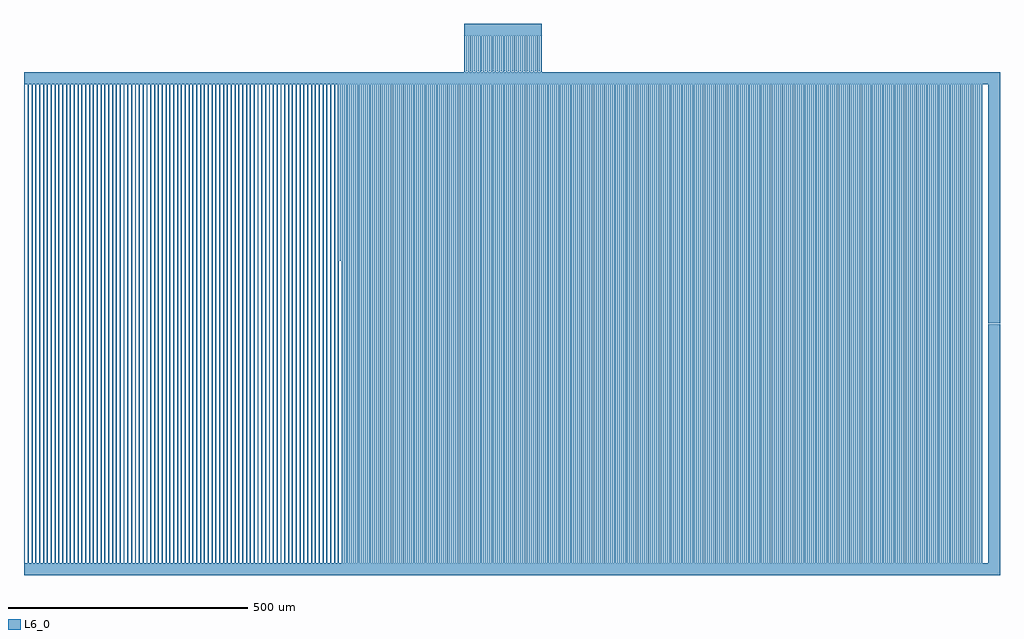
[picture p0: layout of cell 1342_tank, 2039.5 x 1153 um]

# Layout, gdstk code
import gdstk
lib = gdstk.Library(unit=1e-6, precision=1e-09)
def P(c, l, *ps):  # polygons
    for p in ps: c.add(gdstk.Polygon(p, *l))
L6_0 = (6, 0)

c_1342_tank = lib.new_cell('1342_tank')
P(c_1342_tank, L6_0, [(-246,8476.75),(-246,8551.75),(-250,8551.75),(-250,8576.75),(-88,8576.75),(-88,8551.75),(-92,8551.75),(-92,8476.75),(-94,8476.75),(-94,8551.75),(-100,8551.75),(-100,8476.75),(-102,8476.75),(-102,8551.75),(-108,8551.75),(-108,8476.75),(-110,8476.75),(-110,8551.75),(-116,8551.75),(-116,8476.75),(-118,8476.75),(-118,8551.75),(-124,8551.75),(-124,8476.75),(-126,8476.75),(-126,8551.75),(-132,8551.75),(-132,8476.75),(-134,8476.75),(-134,8551.75),(-140,8551.75),(-140,8476.75),(-142,8476.75),(-142,8551.75),(-148,8551.75),(-148,8476.75),(-150,8476.75),(-150,8551.75),(-156,8551.75),(-156,8476.75),(-158,8476.75),(-158,8551.75),(-164,8551.75),(-164,8476.75),(-166,8476.75),(-166,8551.75),(-172,8551.75),(-172,8476.75),(-174,8476.75),(-174,8551.75),(-180,8551.75),(-180,8476.75),(-182,8476.75),(-182,8551.75),(-188,8551.75),(-188,8476.75),(-190,8476.75),(-190,8551.75),(-196,8551.75),(-196,8476.75),(-198,8476.75),(-198,8551.75),(-204,8551.75),(-204,8476.75),(-206,8476.75),(-206,8551.75),(-212,8551.75),(-212,8476.75),(-214,8476.75),(-214,8551.75),(-220,8551.75),(-220,8476.75),(-222,8476.75),(-222,8551.75),(-228,8551.75),(-228,8476.75),(-230,8476.75),(-230,8551.75),(-236,8551.75),(-236,8476.75),(-238,8476.75),(-238,8551.75),(-244,8551.75),(-244,8476.75)],
  [(-502,7450.25),(-502,8450.25),(-508,8450.25),(-508,8081.446),(-510,8081.446),(-510,8450.25),(-1170,8450.25),(-1170,8475.25),(-250,8475.25),(-250,8550.25),(-248,8550.25),(-248,8475.25),(-242,8475.25),(-242,8550.25),(-240,8550.25),(-240,8475.25),(-234,8475.25),(-234,8550.25),(-232,8550.25),(-232,8475.25),(-226,8475.25),(-226,8550.25),(-224,8550.25),(-224,8475.25),(-218,8475.25),(-218,8550.25),(-216,8550.25),(-216,8475.25),(-210,8475.25),(-210,8550.25),(-208,8550.25),(-208,8475.25),(-202,8475.25),(-202,8550.25),(-200,8550.25),(-200,8475.25),(-194,8475.25),(-194,8450.25),(-196,8450.25),(-196,7450.25),(-198,7450.25),(-198,8450.25),(-204,8450.25),(-204,7450.25),(-206,7450.25),(-206,8450.25),(-212,8450.25),(-212,7450.25),(-214,7450.25),(-214,8450.25),(-220,8450.25),(-220,7450.25),(-222,7450.25),(-222,8450.25),(-228,8450.25),(-228,7450.25),(-230,7450.25),(-230,8450.25),(-236,8450.25),(-236,7450.25),(-238,7450.25),(-238,8450.25),(-244,8450.25),(-244,7450.25),(-246,7450.25),(-246,8450.25),(-252,8450.25),(-252,7450.25),(-254,7450.25),(-254,8450.25),(-260,8450.25),(-260,7450.25),(-262,7450.25),(-262,8450.25),(-268,8450.25),(-268,7450.25),(-270,7450.25),(-270,8450.25),(-276,8450.25),(-276,7450.25),(-278,7450.25),(-278,8450.25),(-284,8450.25),(-284,7450.25),(-286,7450.25),(-286,8450.25),(-292,8450.25),(-292,7450.25),(-294,7450.25),(-294,8450.25),(-300,8450.25),(-300,7450.25),(-302,7450.25),(-302,8450.25),(-308,8450.25),(-308,7450.25),(-310,7450.25),(-310,8450.25),(-316,8450.25),(-316,7450.25),(-318,7450.25),(-318,8450.25),(-324,8450.25),(-324,7450.25),(-326,7450.25),(-326,8450.25),(-332,8450.25),(-332,7450.25),(-334,7450.25),(-334,8450.25),(-340,8450.25),(-340,7450.25),(-342,7450.25),(-342,8450.25),(-348,8450.25),(-348,7450.25),(-350,7450.25),(-350,8450.25),(-356,8450.25),(-356,7450.25),(-358,7450.25),(-358,8450.25),(-364,8450.25),(-364,7450.25),(-366,7450.25),(-366,8450.25),(-372,8450.25),(-372,7450.25),(-374,7450.25),(-374,8450.25),(-380,8450.25),(-380,7450.25),(-382,7450.25),(-382,8450.25),(-388,8450.25),(-388,7450.25),(-390,7450.25),(-390,8450.25),(-396,8450.25),(-396,7450.25),(-398,7450.25),(-398,8450.25),(-404,8450.25),(-404,7450.25),(-406,7450.25),(-406,8450.25),(-412,8450.25),(-412,7450.25),(-414,7450.25),(-414,8450.25),(-420,8450.25),(-420,7450.25),(-422,7450.25),(-422,8450.25),(-428,8450.25),(-428,7450.25),(-430,7450.25),(-430,8450.25),(-436,8450.25),(-436,7450.25),(-438,7450.25),(-438,8450.25),(-444,8450.25),(-444,7450.25),(-446,7450.25),(-446,8450.25),(-452,8450.25),(-452,7450.25),(-454,7450.25),(-454,8450.25),(-460,8450.25),(-460,7450.25),(-462,7450.25),(-462,8450.25),(-468,8450.25),(-468,7450.25),(-470,7450.25),(-470,8450.25),(-476,8450.25),(-476,7450.25),(-478,7450.25),(-478,8450.25),(-484,8450.25),(-484,7450.25),(-486,7450.25),(-486,8450.25),(-492,8450.25),(-492,7450.25),(-494,7450.25),(-494,8450.25),(-500,8450.25),(-500,7450.25)],
  [(-190,7450.25),(-190,8450.25),(-194,8450.25),(-194,8550.25),(-192,8550.25),(-192,8475.25),(-186,8475.25),(-186,8550.25),(-184,8550.25),(-184,8475.25),(-178,8475.25),(-178,8550.25),(-176,8550.25),(-176,8475.25),(-170,8475.25),(-170,8550.25),(-168,8550.25),(-168,8475.25),(-162,8475.25),(-162,8550.25),(-160,8550.25),(-160,8475.25),(-154,8475.25),(-154,8550.25),(-152,8550.25),(-152,8475.25),(-146,8475.25),(-146,8550.25),(-144,8550.25),(-144,8475.25),(-138,8475.25),(-138,8550.25),(-136,8550.25),(-136,8475.25),(-130,8475.25),(-130,8550.25),(-128,8550.25),(-128,8475.25),(-122,8475.25),(-122,8550.25),(-120,8550.25),(-120,8475.25),(-114,8475.25),(-114,8550.25),(-112,8550.25),(-112,8475.25),(-106,8475.25),(-106,8550.25),(-104,8550.25),(-104,8475.25),(-98,8475.25),(-98,8550.25),(-96,8550.25),(-96,8475.25),(-90,8475.25),(-90,8550.25),(-88,8550.25),(-88,8475.25),(76,8475.25),(76,7450.25),(74,7450.25),(74,8450.25),(68,8450.25),(68,7450.25),(66,7450.25),(66,8450.25),(60,8450.25),(60,7450.25),(58,7450.25),(58,8450.25),(52,8450.25),(52,7450.25),(50,7450.25),(50,8450.25),(44,8450.25),(44,7450.25),(42,7450.25),(42,8450.25),(36,8450.25),(36,7450.25),(34,7450.25),(34,8450.25),(28,8450.25),(28,7450.25),(26,7450.25),(26,8450.25),(20,8450.25),(20,7450.25),(18,7450.25),(18,8450.25),(12,8450.25),(12,7450.25),(10,7450.25),(10,8450.25),(4,8450.25),(4,7450.25),(2,7450.25),(2,8450.25),(-4,8450.25),(-4,7450.25),(-6,7450.25),(-6,8450.25),(-12,8450.25),(-12,7450.25),(-14,7450.25),(-14,8450.25),(-20,8450.25),(-20,7450.25),(-22,7450.25),(-22,8450.25),(-28,8450.25),(-28,7450.25),(-30,7450.25),(-30,8450.25),(-36,8450.25),(-36,7450.25),(-38,7450.25),(-38,8450.25),(-44,8450.25),(-44,7450.25),(-46,7450.25),(-46,8450.25),(-52,8450.25),(-52,7450.25),(-54,7450.25),(-54,8450.25),(-60,8450.25),(-60,7450.25),(-62,7450.25),(-62,8450.25),(-68,8450.25),(-68,7450.25),(-70,7450.25),(-70,8450.25),(-76,8450.25),(-76,7450.25),(-78,7450.25),(-78,8450.25),(-84,8450.25),(-84,7450.25),(-86,7450.25),(-86,8450.25),(-92,8450.25),(-92,7450.25),(-94,7450.25),(-94,8450.25),(-100,8450.25),(-100,7450.25),(-102,7450.25),(-102,8450.25),(-108,8450.25),(-108,7450.25),(-110,7450.25),(-110,8450.25),(-116,8450.25),(-116,7450.25),(-118,7450.25),(-118,8450.25),(-124,8450.25),(-124,7450.25),(-126,7450.25),(-126,8450.25),(-132,8450.25),(-132,7450.25),(-134,7450.25),(-134,8450.25),(-140,8450.25),(-140,7450.25),(-142,7450.25),(-142,8450.25),(-148,8450.25),(-148,7450.25),(-150,7450.25),(-150,8450.25),(-156,8450.25),(-156,7450.25),(-158,7450.25),(-158,8450.25),(-164,8450.25),(-164,7450.25),(-166,7450.25),(-166,8450.25),(-172,8450.25),(-172,7450.25),(-174,7450.25),(-174,8450.25),(-180,8450.25),(-180,7450.25),(-182,7450.25),(-182,8450.25),(-188,8450.25),(-188,7450.25)],
  [(82,7450.25),(82,8450.25),(76,8450.25),(76,8475.25),(458,8475.25),(458,8450.25),(452,8450.25),(452,7450.25),(450,7450.25),(450,8450.25),(444,8450.25),(444,7450.25),(442,7450.25),(442,8450.25),(436,8450.25),(436,7450.25),(434,7450.25),(434,8450.25),(428,8450.25),(428,7450.25),(426,7450.25),(426,8450.25),(420,8450.25),(420,7450.25),(418,7450.25),(418,8450.25),(412,8450.25),(412,7450.25),(410,7450.25),(410,8450.25),(404,8450.25),(404,7450.25),(402,7450.25),(402,8450.25),(396,8450.25),(396,7450.25),(394,7450.25),(394,8450.25),(388,8450.25),(388,7450.25),(386,7450.25),(386,8450.25),(380,8450.25),(380,7450.25),(378,7450.25),(378,8450.25),(372,8450.25),(372,7450.25),(370,7450.25),(370,8450.25),(364,8450.25),(364,7450.25),(362,7450.25),(362,8450.25),(356,8450.25),(356,7450.25),(354,7450.25),(354,8450.25),(348,8450.25),(348,7450.25),(346,7450.25),(346,8450.25),(340,8450.25),(340,7450.25),(338,7450.25),(338,8450.25),(332,8450.25),(332,7450.25),(330,7450.25),(330,8450.25),(324,8450.25),(324,7450.25),(322,7450.25),(322,8450.25),(316,8450.25),(316,7450.25),(314,7450.25),(314,8450.25),(308,8450.25),(308,7450.25),(306,7450.25),(306,8450.25),(300,8450.25),(300,7450.25),(298,7450.25),(298,8450.25),(292,8450.25),(292,7450.25),(290,7450.25),(290,8450.25),(284,8450.25),(284,7450.25),(282,7450.25),(282,8450.25),(276,8450.25),(276,7450.25),(274,7450.25),(274,8450.25),(268,8450.25),(268,7450.25),(266,7450.25),(266,8450.25),(260,8450.25),(260,7450.25),(258,7450.25),(258,8450.25),(252,8450.25),(252,7450.25),(250,7450.25),(250,8450.25),(244,8450.25),(244,7450.25),(242,7450.25),(242,8450.25),(236,8450.25),(236,7450.25),(234,7450.25),(234,8450.25),(228,8450.25),(228,7450.25),(226,7450.25),(226,8450.25),(220,8450.25),(220,7450.25),(218,7450.25),(218,8450.25),(212,8450.25),(212,7450.25),(210,7450.25),(210,8450.25),(204,8450.25),(204,7450.25),(202,7450.25),(202,8450.25),(196,8450.25),(196,7450.25),(194,7450.25),(194,8450.25),(188,8450.25),(188,7450.25),(186,7450.25),(186,8450.25),(180,8450.25),(180,7450.25),(178,7450.25),(178,8450.25),(172,8450.25),(172,7450.25),(170,7450.25),(170,8450.25),(164,8450.25),(164,7450.25),(162,7450.25),(162,8450.25),(156,8450.25),(156,7450.25),(154,7450.25),(154,8450.25),(148,8450.25),(148,7450.25),(146,7450.25),(146,8450.25),(140,8450.25),(140,7450.25),(138,7450.25),(138,8450.25),(132,8450.25),(132,7450.25),(130,7450.25),(130,8450.25),(124,8450.25),(124,7450.25),(122,7450.25),(122,8450.25),(116,8450.25),(116,7450.25),(114,7450.25),(114,8450.25),(108,8450.25),(108,7450.25),(106,7450.25),(106,8450.25),(100,8450.25),(100,7450.25),(98,7450.25),(98,8450.25),(92,8450.25),(92,7450.25),(90,7450.25),(90,8450.25),(84,8450.25),(84,7450.25)],
  [(458,7450.25),(458,8475.25),(869.5,8475.25),(869.5,7950.5),(844.5,7950.5),(844.5,8450.25),(828,8450.25),(828,7450.25),(826,7450.25),(826,8450.25),(820,8450.25),(820,7450.25),(818,7450.25),(818,8450.25),(812,8450.25),(812,7450.25),(810,7450.25),(810,8450.25),(804,8450.25),(804,7450.25),(802,7450.25),(802,8450.25),(796,8450.25),(796,7450.25),(794,7450.25),(794,8450.25),(788,8450.25),(788,7450.25),(786,7450.25),(786,8450.25),(780,8450.25),(780,7450.25),(778,7450.25),(778,8450.25),(772,8450.25),(772,7450.25),(770,7450.25),(770,8450.25),(764,8450.25),(764,7450.25),(762,7450.25),(762,8450.25),(756,8450.25),(756,7450.25),(754,7450.25),(754,8450.25),(748,8450.25),(748,7450.25),(746,7450.25),(746,8450.25),(740,8450.25),(740,7450.25),(738,7450.25),(738,8450.25),(732,8450.25),(732,7450.25),(730,7450.25),(730,8450.25),(724,8450.25),(724,7450.25),(722,7450.25),(722,8450.25),(716,8450.25),(716,7450.25),(714,7450.25),(714,8450.25),(708,8450.25),(708,7450.25),(706,7450.25),(706,8450.25),(700,8450.25),(700,7450.25),(698,7450.25),(698,8450.25),(692,8450.25),(692,7450.25),(690,7450.25),(690,8450.25),(684,8450.25),(684,7450.25),(682,7450.25),(682,8450.25),(676,8450.25),(676,7450.25),(674,7450.25),(674,8450.25),(668,8450.25),(668,7450.25),(666,7450.25),(666,8450.25),(660,8450.25),(660,7450.25),(658,7450.25),(658,8450.25),(652,8450.25),(652,7450.25),(650,7450.25),(650,8450.25),(644,8450.25),(644,7450.25),(642,7450.25),(642,8450.25),(636,8450.25),(636,7450.25),(634,7450.25),(634,8450.25),(628,8450.25),(628,7450.25),(626,7450.25),(626,8450.25),(620,8450.25),(620,7450.25),(618,7450.25),(618,8450.25),(612,8450.25),(612,7450.25),(610,7450.25),(610,8450.25),(604,8450.25),(604,7450.25),(602,7450.25),(602,8450.25),(596,8450.25),(596,7450.25),(594,7450.25),(594,8450.25),(588,8450.25),(588,7450.25),(586,7450.25),(586,8450.25),(580,8450.25),(580,7450.25),(578,7450.25),(578,8450.25),(572,8450.25),(572,7450.25),(570,7450.25),(570,8450.25),(564,8450.25),(564,7450.25),(562,7450.25),(562,8450.25),(556,8450.25),(556,7450.25),(554,7450.25),(554,8450.25),(548,8450.25),(548,7450.25),(546,7450.25),(546,8450.25),(540,8450.25),(540,7450.25),(538,7450.25),(538,8450.25),(532,8450.25),(532,7450.25),(530,7450.25),(530,8450.25),(524,8450.25),(524,7450.25),(522,7450.25),(522,8450.25),(516,8450.25),(516,7450.25),(514,7450.25),(514,8450.25),(508,8450.25),(508,7450.25),(506,7450.25),(506,8450.25),(500,8450.25),(500,7450.25),(498,7450.25),(498,8450.25),(492,8450.25),(492,7450.25),(490,7450.25),(490,8450.25),(484,8450.25),(484,7450.25),(482,7450.25),(482,8450.25),(476,8450.25),(476,7450.25),(474,7450.25),(474,8450.25),(468,8450.25),(468,7450.25),(466,7450.25),(466,8450.25),(460,8450.25),(460,7450.25)],
  [(-1170,7423.75),(-1170,8448.75),(-1168,8448.75),(-1168,7448.75),(-1162,7448.75),(-1162,8448.75),(-1160,8448.75),(-1160,7448.75),(-1154,7448.75),(-1154,8448.75),(-1152,8448.75),(-1152,7448.75),(-1146,7448.75),(-1146,8448.75),(-1144,8448.75),(-1144,7448.75),(-1138,7448.75),(-1138,8448.75),(-1136,8448.75),(-1136,7448.75),(-1130,7448.75),(-1130,8448.75),(-1128,8448.75),(-1128,7448.75),(-1122,7448.75),(-1122,8448.75),(-1120,8448.75),(-1120,7448.75),(-1114,7448.75),(-1114,8448.75),(-1112,8448.75),(-1112,7448.75),(-1106,7448.75),(-1106,8448.75),(-1104,8448.75),(-1104,7448.75),(-1098,7448.75),(-1098,8448.75),(-1096,8448.75),(-1096,7448.75),(-1090,7448.75),(-1090,8448.75),(-1088,8448.75),(-1088,7448.75),(-1082,7448.75),(-1082,8448.75),(-1080,8448.75),(-1080,7448.75),(-1074,7448.75),(-1074,8448.75),(-1072,8448.75),(-1072,7448.75),(-1066,7448.75),(-1066,8448.75),(-1064,8448.75),(-1064,7448.75),(-1058,7448.75),(-1058,8448.75),(-1056,8448.75),(-1056,7448.75),(-1050,7448.75),(-1050,8448.75),(-1048,8448.75),(-1048,7448.75),(-1042,7448.75),(-1042,8448.75),(-1040,8448.75),(-1040,7448.75),(-1034,7448.75),(-1034,8448.75),(-1032,8448.75),(-1032,7448.75),(-1026,7448.75),(-1026,8448.75),(-1024,8448.75),(-1024,7448.75),(-1018,7448.75),(-1018,8448.75),(-1016,8448.75),(-1016,7448.75),(-1010,7448.75),(-1010,8448.75),(-1008,8448.75),(-1008,7448.75),(-1002,7448.75),(-1002,8448.75),(-1000,8448.75),(-1000,7448.75),(-994,7448.75),(-994,8448.75),(-992,8448.75),(-992,7448.75),(-986,7448.75),(-986,8448.75),(-984,8448.75),(-984,7448.75),(-978,7448.75),(-978,8448.75),(-976,8448.75),(-976,7448.75),(-970,7448.75),(-970,8448.75),(-968,8448.75),(-968,7448.75),(-962,7448.75),(-962,8448.75),(-960,8448.75),(-960,7448.75),(-954,7448.75),(-954,8448.75),(-952,8448.75),(-952,7448.75),(-946,7448.75),(-946,8448.75),(-944,8448.75),(-944,7448.75),(-938,7448.75),(-938,8448.75),(-936,8448.75),(-936,7448.75),(-930,7448.75),(-930,8448.75),(-928,8448.75),(-928,7448.75),(-922,7448.75),(-922,7423.75)],
  [(-922,7423.75),(-922,8448.75),(-920,8448.75),(-920,7448.75),(-914,7448.75),(-914,8448.75),(-912,8448.75),(-912,7448.75),(-906,7448.75),(-906,8448.75),(-904,8448.75),(-904,7448.75),(-898,7448.75),(-898,8448.75),(-896,8448.75),(-896,7448.75),(-890,7448.75),(-890,8448.75),(-888,8448.75),(-888,7448.75),(-882,7448.75),(-882,8448.75),(-880,8448.75),(-880,7448.75),(-874,7448.75),(-874,8448.75),(-872,8448.75),(-872,7448.75),(-866,7448.75),(-866,8448.75),(-864,8448.75),(-864,7448.75),(-858,7448.75),(-858,8448.75),(-856,8448.75),(-856,7448.75),(-850,7448.75),(-850,8448.75),(-848,8448.75),(-848,7448.75),(-842,7448.75),(-842,8448.75),(-840,8448.75),(-840,7448.75),(-834,7448.75),(-834,8448.75),(-832,8448.75),(-832,7448.75),(-826,7448.75),(-826,8448.75),(-824,8448.75),(-824,7448.75),(-818,7448.75),(-818,8448.75),(-816,8448.75),(-816,7448.75),(-810,7448.75),(-810,8448.75),(-808,8448.75),(-808,7448.75),(-802,7448.75),(-802,8448.75),(-800,8448.75),(-800,7448.75),(-794,7448.75),(-794,8448.75),(-792,8448.75),(-792,7448.75),(-786,7448.75),(-786,8448.75),(-784,8448.75),(-784,7448.75),(-778,7448.75),(-778,8448.75),(-776,8448.75),(-776,7448.75),(-770,7448.75),(-770,8448.75),(-768,8448.75),(-768,7448.75),(-762,7448.75),(-762,8448.75),(-760,8448.75),(-760,7448.75),(-754,7448.75),(-754,8448.75),(-752,8448.75),(-752,7448.75),(-746,7448.75),(-746,8448.75),(-744,8448.75),(-744,7448.75),(-738,7448.75),(-738,8448.75),(-736,8448.75),(-736,7448.75),(-730,7448.75),(-730,8448.75),(-728,8448.75),(-728,7448.75),(-722,7448.75),(-722,8448.75),(-720,8448.75),(-720,7448.75),(-714,7448.75),(-714,8448.75),(-712,8448.75),(-712,7448.75),(-706,7448.75),(-706,8448.75),(-704,8448.75),(-704,7448.75),(-698,7448.75),(-698,8448.75),(-696,8448.75),(-696,7448.75),(-690,7448.75),(-690,8448.75),(-688,8448.75),(-688,7448.75),(-682,7448.75),(-682,8448.75),(-680,8448.75),(-680,7448.75),(-674,7448.75),(-674,8448.75),(-672,8448.75),(-672,7423.75)],
  [(-672,7423.75),(-672,7448.75),(-666,7448.75),(-666,8448.75),(-664,8448.75),(-664,7448.75),(-658,7448.75),(-658,8448.75),(-656,8448.75),(-656,7448.75),(-650,7448.75),(-650,8448.75),(-648,8448.75),(-648,7448.75),(-642,7448.75),(-642,8448.75),(-640,8448.75),(-640,7448.75),(-634,7448.75),(-634,8448.75),(-632,8448.75),(-632,7448.75),(-626,7448.75),(-626,8448.75),(-624,8448.75),(-624,7448.75),(-618,7448.75),(-618,8448.75),(-616,8448.75),(-616,7448.75),(-610,7448.75),(-610,8448.75),(-608,8448.75),(-608,7448.75),(-602,7448.75),(-602,8448.75),(-600,8448.75),(-600,7448.75),(-594,7448.75),(-594,8448.75),(-592,8448.75),(-592,7448.75),(-586,7448.75),(-586,8448.75),(-584,8448.75),(-584,7448.75),(-578,7448.75),(-578,8448.75),(-576,8448.75),(-576,7448.75),(-570,7448.75),(-570,8448.75),(-568,8448.75),(-568,7448.75),(-562,7448.75),(-562,8448.75),(-560,8448.75),(-560,7448.75),(-554,7448.75),(-554,8448.75),(-552,8448.75),(-552,7448.75),(-546,7448.75),(-546,8448.75),(-544,8448.75),(-544,7448.75),(-538,7448.75),(-538,8448.75),(-536,8448.75),(-536,7448.75),(-530,7448.75),(-530,8448.75),(-528,8448.75),(-528,7448.75),(-522,7448.75),(-522,8448.75),(-520,8448.75),(-520,7448.75),(-514,7448.75),(-514,8448.75),(-512,8448.75),(-512,7448.75),(-506,7448.75),(-506,8448.75),(-504,8448.75),(-504,7448.75),(-498,7448.75),(-498,8448.75),(-496,8448.75),(-496,7448.75),(-490,7448.75),(-490,8448.75),(-488,8448.75),(-488,7448.75),(-482,7448.75),(-482,8448.75),(-480,8448.75),(-480,7448.75),(-474,7448.75),(-474,8448.75),(-472,8448.75),(-472,7448.75),(-466,7448.75),(-466,8448.75),(-464,8448.75),(-464,7448.75),(-458,7448.75),(-458,8448.75),(-456,8448.75),(-456,7448.75),(-450,7448.75),(-450,8448.75),(-448,8448.75),(-448,7448.75),(-442,7448.75),(-442,8448.75),(-440,8448.75),(-440,7448.75),(-434,7448.75),(-434,8448.75),(-432,8448.75),(-432,7448.75),(-426,7448.75),(-426,8448.75),(-424,8448.75),(-424,7448.75),(-418,7448.75),(-418,7423.75)],
  [(-418,7423.75),(-418,8448.75),(-416,8448.75),(-416,7448.75),(-410,7448.75),(-410,8448.75),(-408,8448.75),(-408,7448.75),(-402,7448.75),(-402,8448.75),(-400,8448.75),(-400,7448.75),(-394,7448.75),(-394,8448.75),(-392,8448.75),(-392,7448.75),(-386,7448.75),(-386,8448.75),(-384,8448.75),(-384,7448.75),(-378,7448.75),(-378,8448.75),(-376,8448.75),(-376,7448.75),(-370,7448.75),(-370,8448.75),(-368,8448.75),(-368,7448.75),(-362,7448.75),(-362,8448.75),(-360,8448.75),(-360,7448.75),(-354,7448.75),(-354,8448.75),(-352,8448.75),(-352,7448.75),(-346,7448.75),(-346,8448.75),(-344,8448.75),(-344,7448.75),(-338,7448.75),(-338,8448.75),(-336,8448.75),(-336,7448.75),(-330,7448.75),(-330,8448.75),(-328,8448.75),(-328,7448.75),(-322,7448.75),(-322,8448.75),(-320,8448.75),(-320,7448.75),(-314,7448.75),(-314,8448.75),(-312,8448.75),(-312,7448.75),(-306,7448.75),(-306,8448.75),(-304,8448.75),(-304,7448.75),(-298,7448.75),(-298,8448.75),(-296,8448.75),(-296,7448.75),(-290,7448.75),(-290,8448.75),(-288,8448.75),(-288,7448.75),(-282,7448.75),(-282,8448.75),(-280,8448.75),(-280,7448.75),(-274,7448.75),(-274,8448.75),(-272,8448.75),(-272,7448.75),(-266,7448.75),(-266,8448.75),(-264,8448.75),(-264,7448.75),(-258,7448.75),(-258,8448.75),(-256,8448.75),(-256,7448.75),(-250,7448.75),(-250,8448.75),(-248,8448.75),(-248,7448.75),(-242,7448.75),(-242,8448.75),(-240,8448.75),(-240,7448.75),(-234,7448.75),(-234,8448.75),(-232,8448.75),(-232,7448.75),(-226,7448.75),(-226,8448.75),(-224,8448.75),(-224,7448.75),(-218,7448.75),(-218,8448.75),(-216,8448.75),(-216,7448.75),(-210,7448.75),(-210,8448.75),(-208,8448.75),(-208,7448.75),(-202,7448.75),(-202,8448.75),(-200,8448.75),(-200,7448.75),(-194,7448.75),(-194,8448.75),(-192,8448.75),(-192,7448.75),(-186,7448.75),(-186,8448.75),(-184,8448.75),(-184,7448.75),(-178,7448.75),(-178,8448.75),(-176,8448.75),(-176,7448.75),(-170,7448.75),(-170,8448.75),(-168,8448.75),(-168,7423.75)],
  [(-168,7423.75),(-168,7448.75),(-162,7448.75),(-162,8448.75),(-160,8448.75),(-160,7448.75),(-154,7448.75),(-154,8448.75),(-152,8448.75),(-152,7448.75),(-146,7448.75),(-146,8448.75),(-144,8448.75),(-144,7448.75),(-138,7448.75),(-138,8448.75),(-136,8448.75),(-136,7448.75),(-130,7448.75),(-130,8448.75),(-128,8448.75),(-128,7448.75),(-122,7448.75),(-122,8448.75),(-120,8448.75),(-120,7448.75),(-114,7448.75),(-114,8448.75),(-112,8448.75),(-112,7448.75),(-106,7448.75),(-106,8448.75),(-104,8448.75),(-104,7448.75),(-98,7448.75),(-98,8448.75),(-96,8448.75),(-96,7448.75),(-90,7448.75),(-90,8448.75),(-88,8448.75),(-88,7448.75),(-82,7448.75),(-82,8448.75),(-80,8448.75),(-80,7448.75),(-74,7448.75),(-74,8448.75),(-72,8448.75),(-72,7448.75),(-66,7448.75),(-66,8448.75),(-64,8448.75),(-64,7448.75),(-58,7448.75),(-58,8448.75),(-56,8448.75),(-56,7448.75),(-50,7448.75),(-50,8448.75),(-48,8448.75),(-48,7448.75),(-42,7448.75),(-42,8448.75),(-40,8448.75),(-40,7448.75),(-34,7448.75),(-34,8448.75),(-32,8448.75),(-32,7448.75),(-26,7448.75),(-26,8448.75),(-24,8448.75),(-24,7448.75),(-18,7448.75),(-18,8448.75),(-16,8448.75),(-16,7448.75),(-10,7448.75),(-10,8448.75),(-8,8448.75),(-8,7448.75),(-2,7448.75),(-2,8448.75),(0,8448.75),(0,7448.75),(6,7448.75),(6,8448.75),(8,8448.75),(8,7448.75),(14,7448.75),(14,8448.75),(16,8448.75),(16,7448.75),(22,7448.75),(22,8448.75),(24,8448.75),(24,7448.75),(30,7448.75),(30,8448.75),(32,8448.75),(32,7448.75),(38,7448.75),(38,8448.75),(40,8448.75),(40,7448.75),(46,7448.75),(46,8448.75),(48,8448.75),(48,7448.75),(54,7448.75),(54,8448.75),(56,8448.75),(56,7448.75),(62,7448.75),(62,8448.75),(64,8448.75),(64,7448.75),(70,7448.75),(70,8448.75),(72,8448.75),(72,7448.75),(78,7448.75),(78,8448.75),(80,8448.75),(80,7448.75),(86,7448.75),(86,7423.75)],
  [(86,7423.75),(86,8448.75),(88,8448.75),(88,7448.75),(94,7448.75),(94,8448.75),(96,8448.75),(96,7448.75),(102,7448.75),(102,8448.75),(104,8448.75),(104,7448.75),(110,7448.75),(110,8448.75),(112,8448.75),(112,7448.75),(118,7448.75),(118,8448.75),(120,8448.75),(120,7448.75),(126,7448.75),(126,8448.75),(128,8448.75),(128,7448.75),(134,7448.75),(134,8448.75),(136,8448.75),(136,7448.75),(142,7448.75),(142,8448.75),(144,8448.75),(144,7448.75),(150,7448.75),(150,8448.75),(152,8448.75),(152,7448.75),(158,7448.75),(158,8448.75),(160,8448.75),(160,7448.75),(166,7448.75),(166,8448.75),(168,8448.75),(168,7448.75),(174,7448.75),(174,8448.75),(176,8448.75),(176,7448.75),(182,7448.75),(182,8448.75),(184,8448.75),(184,7448.75),(190,7448.75),(190,8448.75),(192,8448.75),(192,7448.75),(198,7448.75),(198,8448.75),(200,8448.75),(200,7448.75),(206,7448.75),(206,8448.75),(208,8448.75),(208,7448.75),(214,7448.75),(214,8448.75),(216,8448.75),(216,7448.75),(222,7448.75),(222,8448.75),(224,8448.75),(224,7448.75),(230,7448.75),(230,8448.75),(232,8448.75),(232,7448.75),(238,7448.75),(238,8448.75),(240,8448.75),(240,7448.75),(246,7448.75),(246,8448.75),(248,8448.75),(248,7448.75),(254,7448.75),(254,8448.75),(256,8448.75),(256,7448.75),(262,7448.75),(262,8448.75),(264,8448.75),(264,7448.75),(270,7448.75),(270,8448.75),(272,8448.75),(272,7448.75),(278,7448.75),(278,8448.75),(280,8448.75),(280,7448.75),(286,7448.75),(286,8448.75),(288,8448.75),(288,7448.75),(294,7448.75),(294,8448.75),(296,8448.75),(296,7448.75),(302,7448.75),(302,8448.75),(304,8448.75),(304,7448.75),(310,7448.75),(310,8448.75),(312,8448.75),(312,7448.75),(318,7448.75),(318,8448.75),(320,8448.75),(320,7448.75),(326,7448.75),(326,8448.75),(328,8448.75),(328,7448.75),(334,7448.75),(334,8448.75),(336,8448.75),(336,7423.75)],
  [(336,7423.75),(336,7448.75),(342,7448.75),(342,8448.75),(344,8448.75),(344,7448.75),(350,7448.75),(350,8448.75),(352,8448.75),(352,7448.75),(358,7448.75),(358,8448.75),(360,8448.75),(360,7448.75),(366,7448.75),(366,8448.75),(368,8448.75),(368,7448.75),(374,7448.75),(374,8448.75),(376,8448.75),(376,7448.75),(382,7448.75),(382,8448.75),(384,8448.75),(384,7448.75),(390,7448.75),(390,8448.75),(392,8448.75),(392,7448.75),(398,7448.75),(398,8448.75),(400,8448.75),(400,7448.75),(406,7448.75),(406,8448.75),(408,8448.75),(408,7448.75),(414,7448.75),(414,8448.75),(416,8448.75),(416,7448.75),(422,7448.75),(422,8448.75),(424,8448.75),(424,7448.75),(430,7448.75),(430,8448.75),(432,8448.75),(432,7448.75),(438,7448.75),(438,8448.75),(440,8448.75),(440,7448.75),(446,7448.75),(446,8448.75),(448,8448.75),(448,7448.75),(454,7448.75),(454,8448.75),(456,8448.75),(456,7448.75),(462,7448.75),(462,8448.75),(464,8448.75),(464,7448.75),(470,7448.75),(470,8448.75),(472,8448.75),(472,7448.75),(478,7448.75),(478,8448.75),(480,8448.75),(480,7448.75),(486,7448.75),(486,8448.75),(488,8448.75),(488,7448.75),(494,7448.75),(494,8448.75),(496,8448.75),(496,7448.75),(502,7448.75),(502,8448.75),(504,8448.75),(504,7448.75),(510,7448.75),(510,8448.75),(512,8448.75),(512,7448.75),(518,7448.75),(518,8448.75),(520,8448.75),(520,7448.75),(526,7448.75),(526,8448.75),(528,8448.75),(528,7448.75),(534,7448.75),(534,8448.75),(536,8448.75),(536,7448.75),(542,7448.75),(542,8448.75),(544,8448.75),(544,7448.75),(550,7448.75),(550,8448.75),(552,8448.75),(552,7448.75),(558,7448.75),(558,8448.75),(560,8448.75),(560,7448.75),(566,7448.75),(566,8448.75),(568,8448.75),(568,7448.75),(574,7448.75),(574,8448.75),(576,8448.75),(576,7448.75),(582,7448.75),(582,8448.75),(584,8448.75),(584,7448.75),(590,7448.75),(590,7423.75)],
  [(590,7423.75),(590,8448.75),(592,8448.75),(592,7448.75),(598,7448.75),(598,8448.75),(600,8448.75),(600,7448.75),(606,7448.75),(606,8448.75),(608,8448.75),(608,7448.75),(614,7448.75),(614,8448.75),(616,8448.75),(616,7448.75),(622,7448.75),(622,8448.75),(624,8448.75),(624,7448.75),(630,7448.75),(630,8448.75),(632,8448.75),(632,7448.75),(638,7448.75),(638,8448.75),(640,8448.75),(640,7448.75),(646,7448.75),(646,8448.75),(648,8448.75),(648,7448.75),(654,7448.75),(654,8448.75),(656,8448.75),(656,7448.75),(662,7448.75),(662,8448.75),(664,8448.75),(664,7448.75),(670,7448.75),(670,8448.75),(672,8448.75),(672,7448.75),(678,7448.75),(678,8448.75),(680,8448.75),(680,7448.75),(686,7448.75),(686,8448.75),(688,8448.75),(688,7448.75),(694,7448.75),(694,8448.75),(696,8448.75),(696,7448.75),(702,7448.75),(702,8448.75),(704,8448.75),(704,7448.75),(710,7448.75),(710,8448.75),(712,8448.75),(712,7448.75),(718,7448.75),(718,8448.75),(720,8448.75),(720,7448.75),(726,7448.75),(726,8448.75),(728,8448.75),(728,7448.75),(734,7448.75),(734,8448.75),(736,8448.75),(736,7448.75),(742,7448.75),(742,8448.75),(744,8448.75),(744,7448.75),(750,7448.75),(750,8448.75),(752,8448.75),(752,7448.75),(758,7448.75),(758,8448.75),(760,8448.75),(760,7448.75),(766,7448.75),(766,8448.75),(768,8448.75),(768,7448.75),(774,7448.75),(774,8448.75),(776,8448.75),(776,7448.75),(782,7448.75),(782,8448.75),(784,8448.75),(784,7448.75),(790,7448.75),(790,8448.75),(792,8448.75),(792,7448.75),(798,7448.75),(798,8448.75),(800,8448.75),(800,7448.75),(806,7448.75),(806,8448.75),(808,8448.75),(808,7448.75),(814,7448.75),(814,8448.75),(816,8448.75),(816,7448.75),(822,7448.75),(822,8448.75),(824,8448.75),(824,7448.75),(830,7448.75),(830,8448.75),(832,8448.75),(832,7448.75),(844.5,7448.75),(844.5,7948.5),(869.5,7948.5),(869.5,7423.75)])

lib.write_gds('1342_tank.gds')
